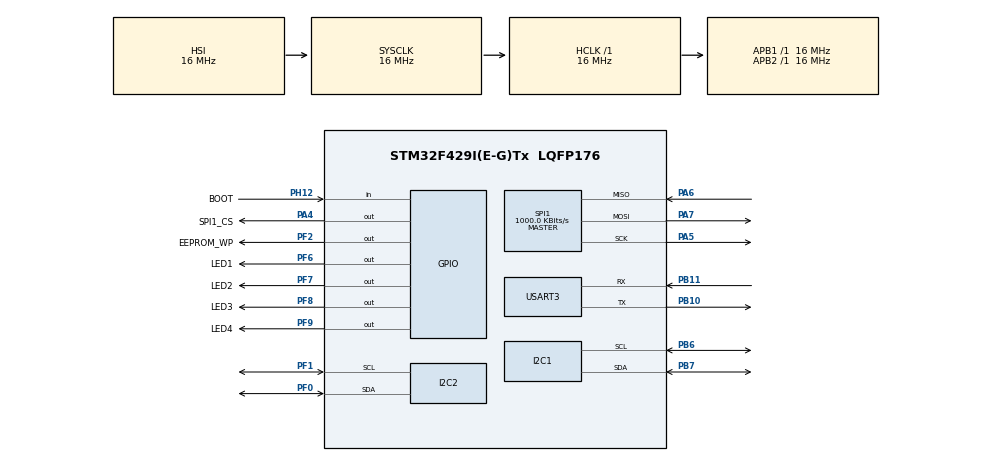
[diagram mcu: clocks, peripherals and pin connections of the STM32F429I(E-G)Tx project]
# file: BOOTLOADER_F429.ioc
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Mcu.Family=STM32F4
Mcu.Name=STM32F429I(E-G)Tx
Mcu.Package=LQFP176
NVIC.PriorityGroup=NVIC_PRIORITYGROUP_4
NVIC.TIM3_IRQn=true\:0\:0\:false\:false\:true\:true\:true
PA4.GPIO_Label=SPI1_CS
PA4.GPIO_PuPd=GPIO_PULLDOWN
PA4.Signal=GPIO_Output
PA5.GPIO_PuPd=GPIO_PULLDOWN
PA5.Mode=Full_Duplex_Master
PA5.Signal=SPI1_SCK
PA6.Mode=Full_Duplex_Master
PA6.Signal=SPI1_MISO
PA7.Mode=Full_Duplex_Master
PA7.Signal=SPI1_MOSI
PB10.Mode=Asynchronous
PB10.Signal=USART3_TX
PB11.Mode=Asynchronous
PB11.Signal=USART3_RX
PB6.Mode=I2C
PB6.Signal=I2C1_SCL
PB7.Mode=I2C
PB7.Signal=I2C1_SDA
PF0.Mode=I2C
PF0.Signal=I2C2_SDA
PF1.Mode=I2C
PF1.Signal=I2C2_SCL
PF2.GPIO_Label=EEPROM_WP
PF2.Signal=GPIO_Output
PF6.GPIO_Label=LED1
PF6.Signal=GPIO_Output
PF7.GPIO_Label=LED2
PF7.Signal=GPIO_Output
PF8.GPIO_Label=LED3
PF8.Signal=GPIO_Output
PF9.GPIO_Label=LED4
PF9.Signal=GPIO_Output
PH12.GPIO_Label=BOOT
PH12.Signal=GPIO_Input
ProjectManager.HeapSize=0x200
ProjectManager.StackSize=0x400
ProjectManager.TargetToolchain=MDK-ARM V5
RCC.48MHZClocksFreq_Value=180000000
RCC.AHBFreq_Value=16000000
RCC.APB1Freq_Value=16000000
RCC.APB1TimFreq_Value=16000000
RCC.APB2Freq_Value=16000000
RCC.APB2TimFreq_Value=16000000
RCC.CortexFreq_Value=16000000
RCC.HCLKFreq_Value=16000000
RCC.HSE_VALUE=8000000
RCC.HSI_VALUE=16000000
RCC.LSE_VALUE=32768
RCC.PLLM=8
RCC.PLLN=360
RCC.SYSCLKFreq_VALUE=16000000
RCC.VCOOutputFreq_Value=720000000
SPI1.BaudRatePrescaler=SPI_BAUDRATEPRESCALER_16
SPI1.CLKPhase=SPI_PHASE_2EDGE
SPI1.CalculateBaudRate=1000.0 KBits/s
SPI1.Direction=SPI_DIRECTION_2LINES
SPI1.Mode=SPI_MODE_MASTER
SPI1.VirtualType=VM_MASTER
TIM3.AutoReloadPreload=TIM_AUTORELOAD_PRELOAD_ENABLE
TIM3.Period=999
TIM3.Prescaler=15999
USART3.VirtualMode=VM_ASYNC
VP_TIM3_VS_ClockSourceINT.Mode=Internal
board=custom

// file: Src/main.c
/* USER CODE BEGIN Header */
/**
  ******************************************************************************
  * @file           : main.c
  * @brief          : Main program body
  ******************************************************************************
  * @attention
  *
  * <h2><center>&copy; Copyright (c) 2020 STMicroelectronics.
  * All rights reserved.</center></h2>
  *
  * This software component is licensed by ST under BSD 3-Clause license,
  * the "License"; You may not use this file except in compliance with the
  * License. You may obtain a copy of the License at:
  *                        opensource.org/licenses/BSD-3-Clause
  *
  ******************************************************************************
  */
/* USER CODE END Header */

#include "main.h"
#include "i2c.h"
#include "spi.h"
#include "tim.h"
#include "usart.h"
#include "gpio.h"

/* USER CODE BEGIN Includes */
#include <string.h>
#include "flash_if.h"
#include "common.h"
#include "menu.h"
#include "upgrade.h"
/* USER CODE END Includes */

/* USER CODE BEGIN PM */
#define WAIT_TIME 5

/* USER CODE END PM */

/* USER CODE BEGIN PV */
const char start_msg[] = "\nWaiting to enter application, Press any key to interrput";
const char VERSION[] = "\n******* BOOTLOADER VERSION 0.0.1 *******\n";
uint8_t reset_flag = 0;

/* USER CODE END PV */

void SystemClock_Config(void);

int main(void)
{
  /* USER CODE BEGIN 1 */
  //int i = 0;
  //char ch;
#if defined(USE_SRAM_FOR_FW_IMG) || defined(USE_FLASH_FOR_FW_IMG)
  uint8_t start;
#endif
  //HAL_StatusTypeDef status;
//  GPIO_PinState boot_state;

  /* USER CODE END 1 */

  /* MCU Configuration--------------------------------------------------------*/

  /* Reset of all peripherals, Initializes the Flash interface and the Systick. */
  HAL_Init();

  /* USER CODE BEGIN Init */
  FLASH_If_Init();

  /* USER CODE END Init */

  /* Configure the system clock */
  SystemClock_Config();

  /* Initialize all configured peripherals */
  MX_GPIO_Init();
  MX_USART3_UART_Init();
  MX_TIM3_Init();
  MX_I2C1_Init();
  MX_I2C2_Init();
  MX_SPI1_Init();
  /* USER CODE BEGIN 2 */
  Boot_Init();
  HAL_UART_Transmit(&huart3, (uint8_t*)VERSION, strlen(VERSION), TX_TIMEOUT);
  //HAL_UART_Transmit(&huart3, (uint8_t*)start_msg, strlen(start_msg), TX_TIMEOUT);
  startup_process();
#if 0
  boot_state = HAL_GPIO_ReadPin(BOOT_GPIO_Port, BOOT_Pin);
  if (boot_state == GPIO_PIN_RESET) {
    startup_process();
  }
#endif
  CLEAR_BIT(huart3.Instance->SR, USART_SR_RXNE);
  __HAL_UART_FLUSH_DRREGISTER(&huart3);
  HAL_TIM_Base_Start_IT(&htim3);
  Main_Menu();

  /* USER CODE END 2 */

  /* Infinite loop */
  /* USER CODE BEGIN WHILE */
#if 0
  while (++i <= WAIT_TIME) {
    status = HAL_UART_Receive(&huart3, (uint8_t*)&ch, 1, 1000);
    if (status == HAL_OK) {
      HAL_UART_Transmit(&huart3, (uint8_t*)"\n", 1, TX_TIMEOUT);
      Main_Menu();
      break;
    }
    HAL_UART_Transmit(&huart3, (uint8_t*)".", 1, TX_TIMEOUT);
  }

  HAL_UART_Transmit(&huart3, (uint8_t*)"\n", 1, TX_TIMEOUT);
#endif

  while (1)
  {
    /* USER CODE END WHILE */

  }
}

void SystemClock_Config(void)
{
  RCC_OscInitTypeDef RCC_OscInitStruct = {0};
  RCC_ClkInitTypeDef RCC_ClkInitStruct = {0};

  /** Configure the main internal regulator output voltage
  */
  __HAL_RCC_PWR_CLK_ENABLE();
  __HAL_PWR_VOLTAGESCALING_CONFIG(PWR_REGULATOR_VOLTAGE_SCALE3);
  /** Initializes the CPU, AHB and APB busses clocks
  */
  RCC_OscInitStruct.OscillatorType = RCC_OSCILLATORTYPE_HSI;
  RCC_OscInitStruct.HSIState = RCC_HSI_ON;
  RCC_OscInitStruct.HSICalibrationValue = RCC_HSICALIBRATION_DEFAULT;
  RCC_OscInitStruct.PLL.PLLState = RCC_PLL_NONE;
  if (HAL_RCC_OscConfig(&RCC_OscInitStruct) != HAL_OK)
  {
    Error_Handler();
  }
  /** Initializes the CPU, AHB and APB busses clocks
  */
  RCC_ClkInitStruct.ClockType = RCC_CLOCKTYPE_HCLK|RCC_CLOCKTYPE_SYSCLK
                              |RCC_CLOCKTYPE_PCLK1|RCC_CLOCKTYPE_PCLK2;
  RCC_ClkInitStruct.SYSCLKSource = RCC_SYSCLKSOURCE_HSI;
  RCC_ClkInitStruct.AHBCLKDivider = RCC_SYSCLK_DIV1;
  RCC_ClkInitStruct.APB1CLKDivider = RCC_HCLK_DIV1;
  RCC_ClkInitStruct.APB2CLKDivider = RCC_HCLK_DIV1;

  if (HAL_RCC_ClockConfig(&RCC_ClkInitStruct, FLASH_LATENCY_0) != HAL_OK)
  {
    Error_Handler();
  }
}

/* USER CODE BEGIN 4 */
void Boot_Init(void)
{
  if (__HAL_RCC_GET_FLAG(RCC_FLAG_BORRST) != RESET){
    SET_RESETFLAG(BOR_RESET_BIT);
  }
  if (__HAL_RCC_GET_FLAG(RCC_FLAG_PINRST) != RESET){
    SET_RESETFLAG(PIN_RESET_BIT);
  }
  if (__HAL_RCC_GET_FLAG(RCC_FLAG_PORRST) != RESET){
    SET_RESETFLAG(POR_RESET_BIT);
  }
  if (__HAL_RCC_GET_FLAG(RCC_FLAG_SFTRST) != RESET){
    SET_RESETFLAG(SFT_RESET_BIT);
  }
  if (__HAL_RCC_GET_FLAG(RCC_FLAG_IWDGRST) != RESET){
    SET_RESETFLAG(IWDG_RESET_BIT);
  }
  if (__HAL_RCC_GET_FLAG(RCC_FLAG_WWDGRST) != RESET){
    SET_RESETFLAG(WWDG_RESET_BIT);
  }
  if (__HAL_RCC_GET_FLAG(RCC_FLAG_LPWRRST) != RESET){
    SET_RESETFLAG(LPWR_RESET_BIT);
  }
}

void HAL_TIM_PeriodElapsedCallback(TIM_HandleTypeDef *htim)
{
  if (htim->Instance == htim3.Instance) {
    HAL_GPIO_TogglePin(LED1_GPIO_Port, LED1_Pin);
  }
}

/* USER CODE END 4 */

void Error_Handler(void)
{
}

/************************ (C) COPYRIGHT STMicroelectronics *****END OF FILE****/
